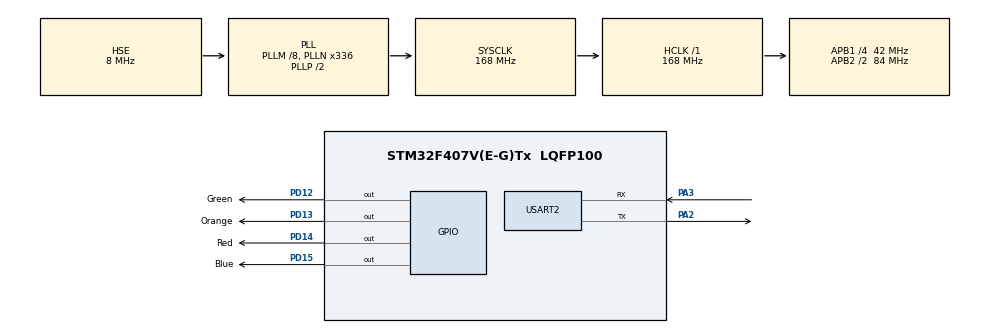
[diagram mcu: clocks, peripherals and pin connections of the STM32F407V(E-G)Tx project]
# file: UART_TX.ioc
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Dma.Request0=USART2_RX
Dma.USART2_RX.0.Direction=DMA_PERIPH_TO_MEMORY
Dma.USART2_RX.0.FIFOMode=DMA_FIFOMODE_DISABLE
Dma.USART2_RX.0.Instance=DMA1_Stream5
Dma.USART2_RX.0.MemDataAlignment=DMA_MDATAALIGN_BYTE
Dma.USART2_RX.0.MemInc=DMA_MINC_ENABLE
Dma.USART2_RX.0.Mode=DMA_NORMAL
Dma.USART2_RX.0.PeriphDataAlignment=DMA_PDATAALIGN_BYTE
Dma.USART2_RX.0.PeriphInc=DMA_PINC_DISABLE
Dma.USART2_RX.0.Priority=DMA_PRIORITY_LOW
Mcu.Family=STM32F4
Mcu.Name=STM32F407V(E-G)Tx
Mcu.Package=LQFP100
NVIC.DMA1_Stream5_IRQn=true\:0\:0\:false\:false\:true\:false\:true\:true
NVIC.PriorityGroup=NVIC_PRIORITYGROUP_0
NVIC.TIM1_BRK_TIM9_IRQn=true\:0\:0\:false\:false\:true\:true\:true\:true
NVIC.USART2_IRQn=true\:0\:0\:false\:false\:true\:true\:true\:true
PA13.Mode=Serial_Wire
PA13.Signal=SYS_JTMS-SWDIO
PA14.Mode=Serial_Wire
PA14.Signal=SYS_JTCK-SWCLK
PA2.Mode=Asynchronous
PA2.Signal=USART2_TX
PA3.Mode=Asynchronous
PA3.Signal=USART2_RX
PD12.GPIO_Label=Green
PD12.Signal=GPIO_Output
PD13.GPIO_Label=Orange
PD13.Signal=GPIO_Output
PD14.GPIO_Label=Red
PD14.Signal=GPIO_Output
PD15.GPIO_Label=Blue
PD15.Signal=GPIO_Output
PH0-OSC_IN.Mode=HSE-External-Oscillator
PH0-OSC_IN.Signal=RCC_OSC_IN
PH1-OSC_OUT.Mode=HSE-External-Oscillator
PH1-OSC_OUT.Signal=RCC_OSC_OUT
ProjectManager.HeapSize=0x200
ProjectManager.StackSize=0x400
ProjectManager.TargetToolchain=MDK-ARM V5.32
RCC.48MHZClocksFreq_Value=48000000
RCC.AHBFreq_Value=168000000
RCC.APB1CLKDivider=RCC_HCLK_DIV4
RCC.APB1Freq_Value=42000000
RCC.APB1TimFreq_Value=84000000
RCC.APB2CLKDivider=RCC_HCLK_DIV2
RCC.APB2Freq_Value=84000000
RCC.APB2TimFreq_Value=168000000
RCC.CortexFreq_Value=168000000
RCC.HCLKFreq_Value=168000000
RCC.HSE_VALUE=8000000
RCC.HSI_VALUE=16000000
RCC.LSE_VALUE=32768
RCC.PLLM=8
RCC.PLLN=336
RCC.PLLQ=7
RCC.PLLSourceVirtual=RCC_PLLSOURCE_HSE
RCC.SYSCLKFreq_VALUE=168000000
RCC.SYSCLKSource=RCC_SYSCLKSOURCE_PLLCLK
RCC.VCOOutputFreq_Value=336000000
TIM9.Period=9999
TIM9.Prescaler=167
USART2.VirtualMode=VM_ASYNC
VP_TIM9_VS_ClockSourceINT.Mode=Internal
board=STM32F407G-DISC1

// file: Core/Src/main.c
/* USER CODE BEGIN Header */
/**
  ******************************************************************************
  * @file           : main.c
  * @brief          : Main program body
  ******************************************************************************
  * @attention
  *
  * Copyright (c) 2024 STMicroelectronics.
  * All rights reserved.
  *
  * This software is licensed under terms that can be found in the LICENSE file
  * in the root directory of this software component.
  * If no LICENSE file comes with this software, it is provided AS-IS.
  *
  ******************************************************************************
  */
/* USER CODE END Header */
#include "main.h"
#include "dma.h"
#include "tim.h"
#include "usart.h"
#include "gpio.h"

/* USER CODE BEGIN Includes */

#define rx_buffer_size 10
uint8_t uart_rx[rx_buffer_size];

#define tx_buffer_size 10
uint8_t tx_buffer[tx_buffer_size];
uint8_t tx_index = 0;

/* USER CODE END Includes */

void SystemClock_Config(void);

int main(void)
{

  /* MCU Configuration--------------------------------------------------------*/

  /* Reset of all peripherals, Initializes the Flash interface and the Systick. */
  HAL_Init();

  /* Configure the system clock */
  SystemClock_Config();

  /* Initialize all configured peripherals */
  MX_GPIO_Init();
  MX_DMA_Init();
  MX_USART2_UART_Init();
  MX_TIM9_Init();
  /* USER CODE BEGIN 2 */
	HAL_TIM_Base_Start_IT(&htim9);
	//HAL_UART_Receive_DMA(&huart2,uart_rx,1);
	HAL_UART_Receive_DMA(&huart2, uart_rx, rx_buffer_size);
  /* USER CODE END 2 */

  /* Infinite loop */
  while (1)
  {

  }
}

void SystemClock_Config(void)
{
  RCC_OscInitTypeDef RCC_OscInitStruct = {0};
  RCC_ClkInitTypeDef RCC_ClkInitStruct = {0};

  /** Configure the main internal regulator output voltage
  */
  __HAL_RCC_PWR_CLK_ENABLE();
  __HAL_PWR_VOLTAGESCALING_CONFIG(PWR_REGULATOR_VOLTAGE_SCALE1);

  /** Initializes the RCC Oscillators according to the specified parameters
  * in the RCC_OscInitTypeDef structure.
  */
  RCC_OscInitStruct.OscillatorType = RCC_OSCILLATORTYPE_HSE;
  RCC_OscInitStruct.HSEState = RCC_HSE_ON;
  RCC_OscInitStruct.PLL.PLLState = RCC_PLL_ON;
  RCC_OscInitStruct.PLL.PLLSource = RCC_PLLSOURCE_HSE;
  RCC_OscInitStruct.PLL.PLLM = 8;
  RCC_OscInitStruct.PLL.PLLN = 336;
  RCC_OscInitStruct.PLL.PLLP = RCC_PLLP_DIV2;
  RCC_OscInitStruct.PLL.PLLQ = 7;
  if (HAL_RCC_OscConfig(&RCC_OscInitStruct) != HAL_OK)
  {
    Error_Handler();
  }

  /** Initializes the CPU, AHB and APB buses clocks
  */
  RCC_ClkInitStruct.ClockType = RCC_CLOCKTYPE_HCLK|RCC_CLOCKTYPE_SYSCLK
                              |RCC_CLOCKTYPE_PCLK1|RCC_CLOCKTYPE_PCLK2;
  RCC_ClkInitStruct.SYSCLKSource = RCC_SYSCLKSOURCE_PLLCLK;
  RCC_ClkInitStruct.AHBCLKDivider = RCC_SYSCLK_DIV1;
  RCC_ClkInitStruct.APB1CLKDivider = RCC_HCLK_DIV4;
  RCC_ClkInitStruct.APB2CLKDivider = RCC_HCLK_DIV2;

  if (HAL_RCC_ClockConfig(&RCC_ClkInitStruct, FLASH_LATENCY_5) != HAL_OK)
  {
    Error_Handler();
  }
}

/* USER CODE BEGIN 4 */

void HAL_UART_RxCpltCallback(UART_HandleTypeDef *huart) {
    if (huart->Instance == USART2) {
        //ProcessReceivedData(rxBuffer, RX_BUFFER_SIZE);
    }
}

void uartSendOne()
{
		tx_buffer[0] = 1;
		tx_buffer[1] = 2;
		tx_buffer[2] = 3;
		tx_buffer[3] = 4;
		tx_buffer[4] = 5;
		tx_buffer[5] = 6;
		tx_buffer[6] = 7;
		tx_buffer[7] = 8;
		tx_buffer[8] = 9;
		tx_buffer[9] = 10;
		//HAL_UART_Transmit_DMA(&huart2, tx_buffer, tx_buffer_size);
    HAL_UART_Transmit(&huart2,tx_buffer,tx_buffer_size,10);
}

void TIM1_BRK_TIM9_IRQHandler(void)
{
  /* USER CODE BEGIN TIM1_BRK_TIM9_IRQn 0 */
	uartSendOne();
  /* USER CODE END TIM1_BRK_TIM9_IRQn 0 */
  HAL_TIM_IRQHandler(&htim9);
  /* USER CODE BEGIN TIM1_BRK_TIM9_IRQn 1 */

  /* USER CODE END TIM1_BRK_TIM9_IRQn 1 */
}
/* USER CODE END 4 */

void Error_Handler(void)
{
  __disable_irq();
  while (1)
  {
  }
}
